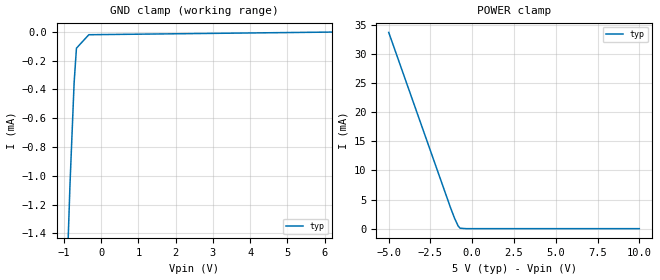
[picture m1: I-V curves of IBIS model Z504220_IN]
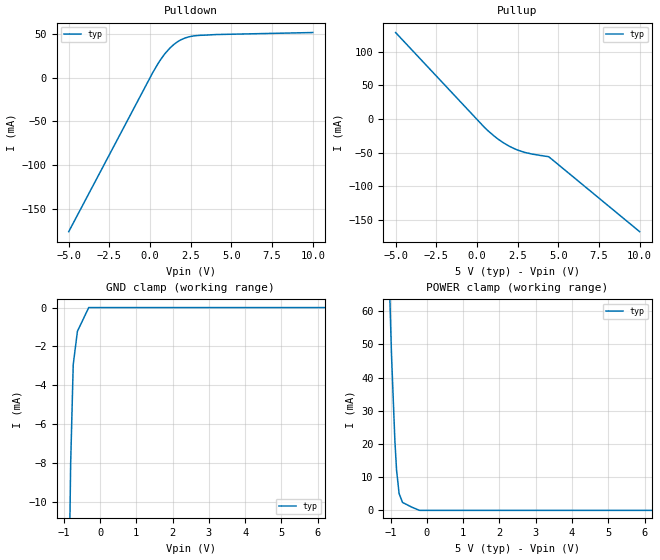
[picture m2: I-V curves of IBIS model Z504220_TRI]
| YOU ARE ONLY AUTHORIZED TO USE THIS SOFTWARE
| ACCORDING TO LICENSOR'S LICENSE RESTRICTIONS.
[IBIS Ver] 3.1
[File Name] mc74hc374adw.ibs
[File Rev] 2.0
[Source] Measured and created by ICX Technology
[Date] Friday 7/14/00 9:08:09 AM
[Copyright]
| (C) COPYRIGHT 1993-2000
| MENTOR GRAPHICS CORPORATION
| ICX STANDARD LIBRARY, ICX PROJECT MODELING,
| ICX CUSTOM MODELING, ICX VENDOR MODEL
| ALL RIGHTS RESERVED.
| THE FOLLOWING ARE TRADEMARKS OR SERVICE MARKS OF
| MENTOR GRAPHICS CORPORATION:ICX (R), ICX STANDARD
| LIBRARY(R), ICX PROJECT MODELING(R), ICX CUSTOM
| MODELING(R), qualityIBIS(TM), MODELVIEWER(TM),
| AND MODELEDITOR(TM)
| ALL COPIES OF SOFTWARE, INCLUDING BUT NOT LIMITED TO
| ANY MODIFICATIONS, ENHANCEMENTS OR DERIVATIVE WORKS,
| MUST CONTAIN ALL MENTOR GRAPHICS CORPORATION'S
| NOTICES AND LEGENDS, INCLUDING THOSE EMBEDDED IN
| SOFTWARE AND THOSE AFFIXED TO SOFTWARE MEDIUM
| AND CONTAINER, AS RECEIVED FROM MENTOR GRAPHICS
| CORPORATION.
|  ZAP Model Builder 2.7
[Component] MC74HC374ADW
[Manufacturer] OnSemiconductor
[Package]
| variable   typ   min   max
R_pkg  .178ohms NA NA
L_pkg  4.43nH NA NA
C_pkg  .62pF NA NA
[Pin] signal_name  model_name  R_pin  L_pin C_pin
1 _G Z504220_IN .186 5.37n .68p
2 Q0 Z504220_TRI .182 4.89n .65p
3 D0 Z504220_IN .178 4.42n .62p
4 D1 Z504220_IN .174 3.96n .59p
5 Q1 Z504220_TRI .17 3.51n .56p
6 Q2 Z504220_TRI .17 3.51n .56p
7 D2 Z504220_IN .174 3.96n .59p
8 D3 Z504220_IN .178 4.42n .62p
9 Q3 Z504220_TRI .182 4.89n .65p
10 GROUND GND .186 5.37n .68p
11 CLK Z504220_IN .186 5.37n .68p
12 Q4 Z504220_TRI .182 4.89n .65p
13 D4 Z504220_IN .178 4.42n .62p
14 D5 Z504220_IN .174 3.96n .59p
15 Q5 Z504220_TRI .17 3.51n .56p
16 Q6 Z504220_TRI .17 3.51n .56p
17 D6 Z504220_IN .174 3.96n .59p
18 D7 Z504220_IN .178 4.42n .62p
19 Q7 Z504220_TRI .182 4.89n .65p
20 VCC POWER .186 5.37n .68p
| Models and submodels in the file (2): Z504220_IN (Input), Z504220_TRI (3-state)
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| (C) COPYRIGHT 1993-2000
| MENTOR GRAPHICS CORPORATION
| ICX STANDARD LIBRARY, ICX PROJECT MODELING,
| ICX CUSTOM MODELING, ICX VENDOR MODEL
| ALL RIGHTS RESERVED.
| THE FOLLOWING ARE TRADEMARKS OR SERVICE MARKS OF
| MENTOR GRAPHICS CORPORATION:ICX (R), ICX STANDARD
| LIBRARY(R), ICX PROJECT MODELING(R), ICX CUSTOM
| MODELING(R), qualityIBIS(TM), MODELVIEWER(TM),
| AND MODELEDITOR(TM)
| ALL COPIES OF SOFTWARE, INCLUDING BUT NOT LIMITED TO
| ANY MODIFICATIONS, ENHANCEMENTS OR DERIVATIVE WORKS,
| MUST CONTAIN ALL MENTOR GRAPHICS CORPORATION'S
| NOTICES AND LEGENDS, INCLUDING THOSE EMBEDDED IN
| SOFTWARE AND THOSE AFFIXED TO SOFTWARE MEDIUM
| AND CONTAINER, AS RECEIVED FROM MENTOR GRAPHICS
| CORPORATION.
| Model Application Version 1.89 2/18/99.
[Model] Z504220_IN
Model_type Input
Vinl = 1.000V
Vinh = 3.500V
C_comp 4.000pF NA NA
| variable typ   min   max
[Voltage Range] 5.000V NA NA
[GND Clamp Reference] 0.000V NA NA
[POWER Clamp Reference] 5.000V NA NA
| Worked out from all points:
|   GND clamp passes 1 mA (typ) near -0.83 V on its own axis
|   POWER clamp passes 1 mA (typ) near -0.93 V on its own axis
[GND Clamp]
-5V       -36.35mA   NA         NA
-1.118V   -3.252mA   NA         NA
-838.9mV  -1.062mA   NA         NA
-727.5mV  -354uA     NA         NA
-665.3mV  -114uA     NA         NA
-332.7mV  -20.37uA   NA         NA
10V       8.715uA    NA         NA
[POWER Clamp]
-5V       33.72mA    NA         NA
-1.313V   3.705mA    NA         NA
-1.055V   1.765mA    NA         NA
-847mV    476.2uA    NA         NA
-730mV    78.21uA    NA         NA
-365mV    0A         NA         NA
10V       0A         NA         NA
| (C) COPYRIGHT 1993-2000
| MENTOR GRAPHICS CORPORATION
| ICX STANDARD LIBRARY, ICX PROJECT MODELING,
| ICX CUSTOM MODELING, ICX VENDOR MODEL
| ALL RIGHTS RESERVED.
| THE FOLLOWING ARE TRADEMARKS OR SERVICE MARKS OF
| MENTOR GRAPHICS CORPORATION:ICX (R), ICX STANDARD
| LIBRARY(R), ICX PROJECT MODELING(R), ICX CUSTOM
| MODELING(R), qualityIBIS(TM), MODELVIEWER(TM),
| AND MODELEDITOR(TM)
| ALL COPIES OF SOFTWARE, INCLUDING BUT NOT LIMITED TO
| ANY MODIFICATIONS, ENHANCEMENTS OR DERIVATIVE WORKS,
| MUST CONTAIN ALL MENTOR GRAPHICS CORPORATION'S
| NOTICES AND LEGENDS, INCLUDING THOSE EMBEDDED IN
| SOFTWARE AND THOSE AFFIXED TO SOFTWARE MEDIUM
| AND CONTAINER, AS RECEIVED FROM MENTOR GRAPHICS
| CORPORATION.
| Model Application Version 1.89 2/18/99.
[Model] Z504220_TRI
Model_type 3-state
Vref=0.000V
Rref=500.0Mohms
Cref=50.00pF
Vmeas=2.500V
C_comp 8.000pF NA NA
| variable typ   min   max
[Voltage Range] 5.000V NA NA
[POWER Clamp Reference] 5.000V NA NA
[Pullup Reference] 5.000V NA NA
[Pulldown Reference] 0.000V NA NA
[GND Clamp Reference] 0.000V NA NA
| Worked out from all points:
|   slope of the pulldown table from 0 to 0.75 V, typ, clamps not added: 32.1 ohm
|   slope of the pullup table from 0 to 0.75 V, typ, clamps not added: 40.9 ohm
[GND Clamp]
-5V       -381.5mA   NA         NA
-1.147V   -51.38mA   NA         NA
-1.025V   -37.72mA   NA         NA
-810.4mV  -8.025mA   NA         NA
-739.6mV  -2.935mA   NA         NA
-624.4mV  -1.223mA   NA         NA
-312.2mV  0A         NA         NA
10V       0A         NA         NA
[Pulldown]
-5V       -176.5mA   NA         NA
162.6mV   5.786mA    NA         NA
488.3mV   16.14mA    NA         NA
913.1mV   27.57mA    NA         NA
1.445V    37.83mA    NA         NA
1.78V     42.3mA     NA         NA
2.15V     45.51mA    NA         NA
3.067V    48.62mA    NA         NA
10V       51.8mA     NA         NA
[Pullup]
-5V       128.2mA    NA         NA
449mV     -12.2mA    NA         NA
1.072V    -25.67mA   NA         NA
1.66V     -35.87mA   NA         NA
2.466V    -45.83mA   NA         NA
3.357V    -51.99mA   NA         NA
4.414V    -56.04mA   NA         NA
10V       -167.2mA   NA         NA
[POWER Clamp]
-5V       2.206A     NA         NA
-1.307V   190.3mA    NA         NA
-1.087V   88.42mA    NA         NA
-977mV    47.01mA    NA         NA
-884mV    21.1mA     NA         NA
-837mV    12.06mA    NA         NA
-767mV    5.059mA    NA         NA
-673mV    2.391mA    NA         NA
-405mV    896.5uA    NA         NA
-202.5mV  0A         NA         NA
10V       0A         NA         NA
[Ramp]
| variable typ min max
dV/dt_r 2.798/2.079n NA NA
dV/dt_f 2.798/1.852n NA NA
R_load = 500.0Ohms
